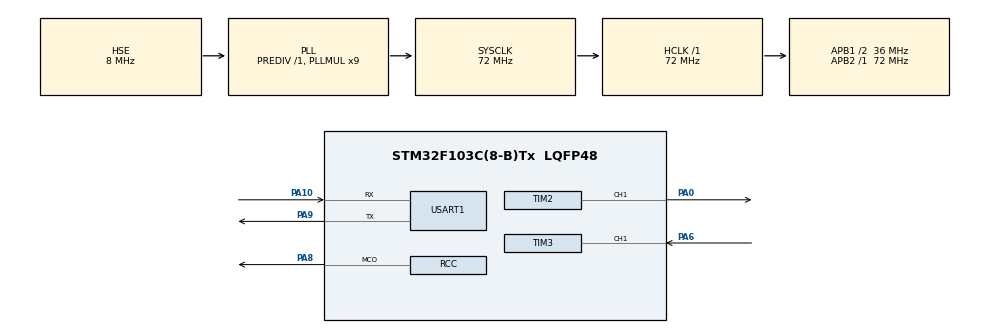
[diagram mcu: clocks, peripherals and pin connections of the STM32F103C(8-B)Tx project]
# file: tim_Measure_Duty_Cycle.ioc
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Mcu.Family=STM32F1
Mcu.Name=STM32F103C(8-B)Tx
Mcu.Package=LQFP48
NVIC.PriorityGroup=NVIC_PRIORITYGROUP_4
NVIC.TIM3_IRQn=true\:0\:0\:false\:false\:true\:true\:true\:true
PA0-WKUP.Signal=S_TIM2_CH1_ETR
PA10.Mode=Asynchronous
PA10.Signal=USART1_RX
PA13.Mode=Serial_Wire
PA13.Signal=SYS_JTMS-SWDIO
PA14.Mode=Serial_Wire
PA14.Signal=SYS_JTCK-SWCLK
PA6.Signal=S_TIM3_CH1
PA8.Mode=Clock-out
PA8.Signal=RCC_MCO
PA9.Mode=Asynchronous
PA9.Signal=USART1_TX
PD0-OSC_IN.Mode=HSE-External-Oscillator
PD0-OSC_IN.Signal=RCC_OSC_IN
PD1-OSC_OUT.Mode=HSE-External-Oscillator
PD1-OSC_OUT.Signal=RCC_OSC_OUT
ProjectManager.HeapSize=0x200
ProjectManager.StackSize=0x400
ProjectManager.TargetToolchain=CMake
RCC.AHBFreq_Value=72000000
RCC.APB1CLKDivider=RCC_HCLK_DIV2
RCC.APB1Freq_Value=36000000
RCC.APB1TimFreq_Value=72000000
RCC.APB2Freq_Value=72000000
RCC.APB2TimFreq_Value=72000000
RCC.HCLKFreq_Value=72000000
RCC.PLLMUL=RCC_PLL_MUL9
RCC.PLLSourceVirtual=RCC_PLLSOURCE_HSE
RCC.RCC_MCOSource=RCC_MCO1SOURCE_PLLCLK
RCC.SYSCLKFreq_VALUE=72000000
RCC.SYSCLKSource=RCC_SYSCLKSOURCE_PLLCLK
RCC.USBFreq_Value=72000000
SH.S_TIM2_CH1_ETR.0=TIM2_CH1,PWM Generation1 CH1
SH.S_TIM3_CH1.0=TIM3_CH1,PWM_Input_1
TIM2.Channel-PWM\ Generation1\ CH1=TIM_CHANNEL_1
TIM2.Period=999
TIM2.Prescaler=71
TIM2.Pulse-PWM\ Generation1\ CH1=500
TIM3.Prescaler=7
USART1.VirtualMode=VM_ASYNC
VP_TIM2_VS_ClockSourceINT.Mode=Internal
VP_TIM3_VS_ClockSourceINT.Mode=Internal
board=custom

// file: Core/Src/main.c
/* USER CODE BEGIN Header */
/**
  ******************************************************************************
  * @file           : main.c
  * @brief          : Main program body
  ******************************************************************************
  * @attention
  *
  * Copyright (c) 2026 STMicroelectronics.
  * All rights reserved.
  *
  * This software is licensed under terms that can be found in the LICENSE file
  * in the root directory of this software component.
  * If no LICENSE file comes with this software, it is provided AS-IS.
  *
  ******************************************************************************
  */
/* USER CODE END Header */
#include "main.h"

/* USER CODE BEGIN Includes */
#include "stdio.h"
#include "stm32f1xx_hal_tim.h"
#include "string.h"
#include <stdint.h>
/* USER CODE END Includes */

TIM_HandleTypeDef htim2;
TIM_HandleTypeDef htim3;

UART_HandleTypeDef huart1;

/* USER CODE BEGIN PV */
volatile uint32_t g_period = 0;//周期
volatile uint32_t g_high_time = 0;//高电平脉冲时间
volatile uint16_t g_duty = 0;//占空比
volatile uint8_t g_is_updated = 0;
char message[20] = "";
uint32_t last_time = 0;
/* USER CODE END PV */

void SystemClock_Config(void);
static void MX_GPIO_Init(void);
static void MX_TIM2_Init(void);
static void MX_TIM3_Init(void);
static void MX_USART1_UART_Init(void);

/* USER CODE BEGIN 0 */
void HAL_TIM_IC_CaptureCallback(TIM_HandleTypeDef *htim)
{
  if(htim -> Instance == TIM3 && htim -> Channel == HAL_TIM_ACTIVE_CHANNEL_1)
  {
    g_period = HAL_TIM_ReadCapturedValue(&htim3,TIM_CHANNEL_1);
    g_high_time = HAL_TIM_ReadCapturedValue(&htim3,TIM_CHANNEL_2);
    g_is_updated = 1;
  }
}
/* USER CODE END 0 */

int main(void)
{

  /* MCU Configuration--------------------------------------------------------*/

  /* Reset of all peripherals, Initializes the Flash interface and the Systick. */
  HAL_Init();

  /* Configure the system clock */
  SystemClock_Config();

  /* Initialize all configured peripherals */
  MX_GPIO_Init();
  MX_TIM2_Init();
  MX_TIM3_Init();
  MX_USART1_UART_Init();
  /* USER CODE BEGIN 2 */
  HAL_TIM_PWM_Start(&htim2,TIM_CHANNEL_1);
  HAL_TIM_IC_Start_IT(&htim3,TIM_CHANNEL_1);
  HAL_TIM_IC_Start_IT(&htim3,TIM_CHANNEL_2);
  /* USER CODE END 2 */

  /* Infinite loop */
  /* USER CODE BEGIN WHILE */
  while (1)
  {
    if(HAL_GetTick() - last_time > 500)
    {
      if(g_is_updated)
        {
          g_is_updated = 0;
          uint32_t local_period = g_period;
          uint32_t local_high = g_high_time;
          if(local_period > 0)
            {
              g_duty = (local_high + 1) * 100 / local_period;
              if(g_duty > 100)g_duty = 100;
            }
          sprintf(message,"duty:%d%%\r\n",g_duty);
          HAL_UART_Transmit(&huart1,(uint8_t *)message,strlen(message),100);
        }
      last_time = HAL_GetTick();
   }
    /* USER CODE END WHILE */

  }
}

void SystemClock_Config(void)
{
  RCC_OscInitTypeDef RCC_OscInitStruct = {0};
  RCC_ClkInitTypeDef RCC_ClkInitStruct = {0};

  /** Initializes the RCC Oscillators according to the specified parameters
  * in the RCC_OscInitTypeDef structure.
  */
  RCC_OscInitStruct.OscillatorType = RCC_OSCILLATORTYPE_HSE;
  RCC_OscInitStruct.HSEState = RCC_HSE_ON;
  RCC_OscInitStruct.HSEPredivValue = RCC_HSE_PREDIV_DIV1;
  RCC_OscInitStruct.HSIState = RCC_HSI_ON;
  RCC_OscInitStruct.PLL.PLLState = RCC_PLL_ON;
  RCC_OscInitStruct.PLL.PLLSource = RCC_PLLSOURCE_HSE;
  RCC_OscInitStruct.PLL.PLLMUL = RCC_PLL_MUL9;
  if (HAL_RCC_OscConfig(&RCC_OscInitStruct) != HAL_OK)
  {
    Error_Handler();
  }

  /** Initializes the CPU, AHB and APB buses clocks
  */
  RCC_ClkInitStruct.ClockType = RCC_CLOCKTYPE_HCLK|RCC_CLOCKTYPE_SYSCLK
                              |RCC_CLOCKTYPE_PCLK1|RCC_CLOCKTYPE_PCLK2;
  RCC_ClkInitStruct.SYSCLKSource = RCC_SYSCLKSOURCE_PLLCLK;
  RCC_ClkInitStruct.AHBCLKDivider = RCC_SYSCLK_DIV1;
  RCC_ClkInitStruct.APB1CLKDivider = RCC_HCLK_DIV2;
  RCC_ClkInitStruct.APB2CLKDivider = RCC_HCLK_DIV1;

  if (HAL_RCC_ClockConfig(&RCC_ClkInitStruct, FLASH_LATENCY_2) != HAL_OK)
  {
    Error_Handler();
  }
  HAL_RCC_MCOConfig(RCC_MCO, RCC_MCO1SOURCE_PLLCLK, RCC_MCODIV_1);
}

static void MX_TIM2_Init(void)
{

  TIM_ClockConfigTypeDef sClockSourceConfig = {0};
  TIM_MasterConfigTypeDef sMasterConfig = {0};
  TIM_OC_InitTypeDef sConfigOC = {0};

  htim2.Instance = TIM2;
  htim2.Init.Prescaler = 71;
  htim2.Init.CounterMode = TIM_COUNTERMODE_UP;
  htim2.Init.Period = 999;
  htim2.Init.ClockDivision = TIM_CLOCKDIVISION_DIV1;
  htim2.Init.AutoReloadPreload = TIM_AUTORELOAD_PRELOAD_DISABLE;
  if (HAL_TIM_Base_Init(&htim2) != HAL_OK)
  {
    Error_Handler();
  }
  sClockSourceConfig.ClockSource = TIM_CLOCKSOURCE_INTERNAL;
  if (HAL_TIM_ConfigClockSource(&htim2, &sClockSourceConfig) != HAL_OK)
  {
    Error_Handler();
  }
  if (HAL_TIM_PWM_Init(&htim2) != HAL_OK)
  {
    Error_Handler();
  }
  sMasterConfig.MasterOutputTrigger = TIM_TRGO_RESET;
  sMasterConfig.MasterSlaveMode = TIM_MASTERSLAVEMODE_DISABLE;
  if (HAL_TIMEx_MasterConfigSynchronization(&htim2, &sMasterConfig) != HAL_OK)
  {
    Error_Handler();
  }
  sConfigOC.OCMode = TIM_OCMODE_PWM1;
  sConfigOC.Pulse = 500;
  sConfigOC.OCPolarity = TIM_OCPOLARITY_HIGH;
  sConfigOC.OCFastMode = TIM_OCFAST_DISABLE;
  if (HAL_TIM_PWM_ConfigChannel(&htim2, &sConfigOC, TIM_CHANNEL_1) != HAL_OK)
  {
    Error_Handler();
  }
  HAL_TIM_MspPostInit(&htim2);

}

static void MX_TIM3_Init(void)
{

  TIM_ClockConfigTypeDef sClockSourceConfig = {0};
  TIM_SlaveConfigTypeDef sSlaveConfig = {0};
  TIM_IC_InitTypeDef sConfigIC = {0};
  TIM_MasterConfigTypeDef sMasterConfig = {0};

  htim3.Instance = TIM3;
  htim3.Init.Prescaler = 7;
  htim3.Init.CounterMode = TIM_COUNTERMODE_UP;
  htim3.Init.Period = 65535;
  htim3.Init.ClockDivision = TIM_CLOCKDIVISION_DIV1;
  htim3.Init.AutoReloadPreload = TIM_AUTORELOAD_PRELOAD_DISABLE;
  if (HAL_TIM_Base_Init(&htim3) != HAL_OK)
  {
    Error_Handler();
  }
  sClockSourceConfig.ClockSource = TIM_CLOCKSOURCE_INTERNAL;
  if (HAL_TIM_ConfigClockSource(&htim3, &sClockSourceConfig) != HAL_OK)
  {
    Error_Handler();
  }
  if (HAL_TIM_IC_Init(&htim3) != HAL_OK)
  {
    Error_Handler();
  }
  sSlaveConfig.SlaveMode = TIM_SLAVEMODE_RESET;
  sSlaveConfig.InputTrigger = TIM_TS_TI1FP1;
  sSlaveConfig.TriggerPolarity = TIM_INPUTCHANNELPOLARITY_RISING;
  sSlaveConfig.TriggerPrescaler = TIM_ICPSC_DIV1;
  sSlaveConfig.TriggerFilter = 0;
  if (HAL_TIM_SlaveConfigSynchro(&htim3, &sSlaveConfig) != HAL_OK)
  {
    Error_Handler();
  }
  sConfigIC.ICPolarity = TIM_INPUTCHANNELPOLARITY_RISING;
  sConfigIC.ICSelection = TIM_ICSELECTION_DIRECTTI;
  sConfigIC.ICPrescaler = TIM_ICPSC_DIV1;
  sConfigIC.ICFilter = 0;
  if (HAL_TIM_IC_ConfigChannel(&htim3, &sConfigIC, TIM_CHANNEL_1) != HAL_OK)
  {
    Error_Handler();
  }
  sConfigIC.ICPolarity = TIM_INPUTCHANNELPOLARITY_FALLING;
  sConfigIC.ICSelection = TIM_ICSELECTION_INDIRECTTI;
  if (HAL_TIM_IC_ConfigChannel(&htim3, &sConfigIC, TIM_CHANNEL_2) != HAL_OK)
  {
    Error_Handler();
  }
  sMasterConfig.MasterOutputTrigger = TIM_TRGO_RESET;
  sMasterConfig.MasterSlaveMode = TIM_MASTERSLAVEMODE_DISABLE;
  if (HAL_TIMEx_MasterConfigSynchronization(&htim3, &sMasterConfig) != HAL_OK)
  {
    Error_Handler();
  }

}

static void MX_USART1_UART_Init(void)
{

  huart1.Instance = USART1;
  huart1.Init.BaudRate = 115200;
  huart1.Init.WordLength = UART_WORDLENGTH_8B;
  huart1.Init.StopBits = UART_STOPBITS_1;
  huart1.Init.Parity = UART_PARITY_NONE;
  huart1.Init.Mode = UART_MODE_TX_RX;
  huart1.Init.HwFlowCtl = UART_HWCONTROL_NONE;
  huart1.Init.OverSampling = UART_OVERSAMPLING_16;
  if (HAL_UART_Init(&huart1) != HAL_OK)
  {
    Error_Handler();
  }

}

static void MX_GPIO_Init(void)
{
  GPIO_InitTypeDef GPIO_InitStruct = {0};

  /* GPIO Ports Clock Enable */
  __HAL_RCC_GPIOD_CLK_ENABLE();
  __HAL_RCC_GPIOA_CLK_ENABLE();

  /*Configure GPIO pin : PA8 */
  GPIO_InitStruct.Pin = GPIO_PIN_8;
  GPIO_InitStruct.Mode = GPIO_MODE_AF_PP;
  GPIO_InitStruct.Speed = GPIO_SPEED_FREQ_LOW;
  HAL_GPIO_Init(GPIOA, &GPIO_InitStruct);

}

void Error_Handler(void)
{
  __disable_irq();
  while (1)
  {
  }
}
